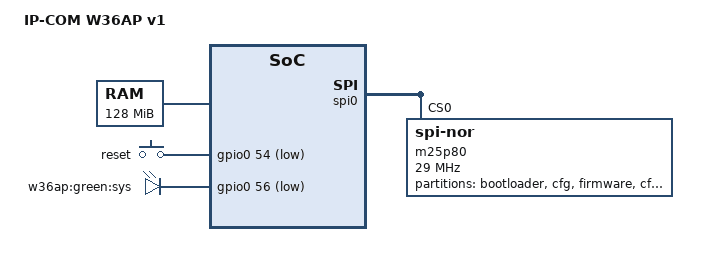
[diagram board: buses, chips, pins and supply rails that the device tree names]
// SPDX-License-Identifier: GPL-2.0
/dts-v1/;

#include "RTL8197F.dtsi"

#include <dt-bindings/gpio/gpio.h>
#include <dt-bindings/input/input.h>

/ {
	compatible = "ip-com,w36ap", "realtek,rtl8197f-soc";
	model = "IP-COM W36AP v1";
	
	aliases {
		led-boot = &led_status;
		led-failsafe = &led_status;
		led-running = &led_status;
		led-upgrade = &led_status;
	};

	memory {
		device_type = "memory";
		reg = <0x0 0x8000000>;
	};

	chosen {
		bootargs = "console=ttyS0,115200";
	};

	gpio-keys-polled {
		compatible = "gpio-keys-polled";
		#address-cells = <1>;
		#size-cells = <0>;
		poll-interval = <20>;

		reset {
			label = "reset";
			gpios = <&gpio0 54 GPIO_ACTIVE_LOW>;
			linux,code = <KEY_RESTART>;
		};
	};
	
	gpio-leds {
		compatible = "gpio-leds";

		led_status: sys {
			label = "w36ap:green:sys";
			gpios = <&gpio0 56 GPIO_ACTIVE_LOW>;
		};
		
	};

};


&gpio0 {
	status = "okay";
};

&spi0 {
	status = "okay";

	m25p80@0 {
		#address-cells = <1>;
		#size-cells = <1>;
		compatible = "jedec,spi-nor";
		reg = <0>;
		spi-max-frequency = <29000000>;

		partition@0 {
			label = "bootloader";
			reg = <0x0 0x20000>;
			read-only;
		};
		partition@20000 {
			label = "cfg";
			reg = <0x20000 0x10000>;
			read-only;
		};
		partition@30000 {
			label = "firmware";
			reg = <0x30000 0x7B0000>;
		};
		
		partition@7E0000 {
			label = "cfm";
			reg = <0x7E0000 0x10000>;
			read-only;
		};
		
		partition@7F0000 {
			label = "cfm-backup";
			reg = <0x7F0000 0x10000>;
			read-only;
		};
	};
};

